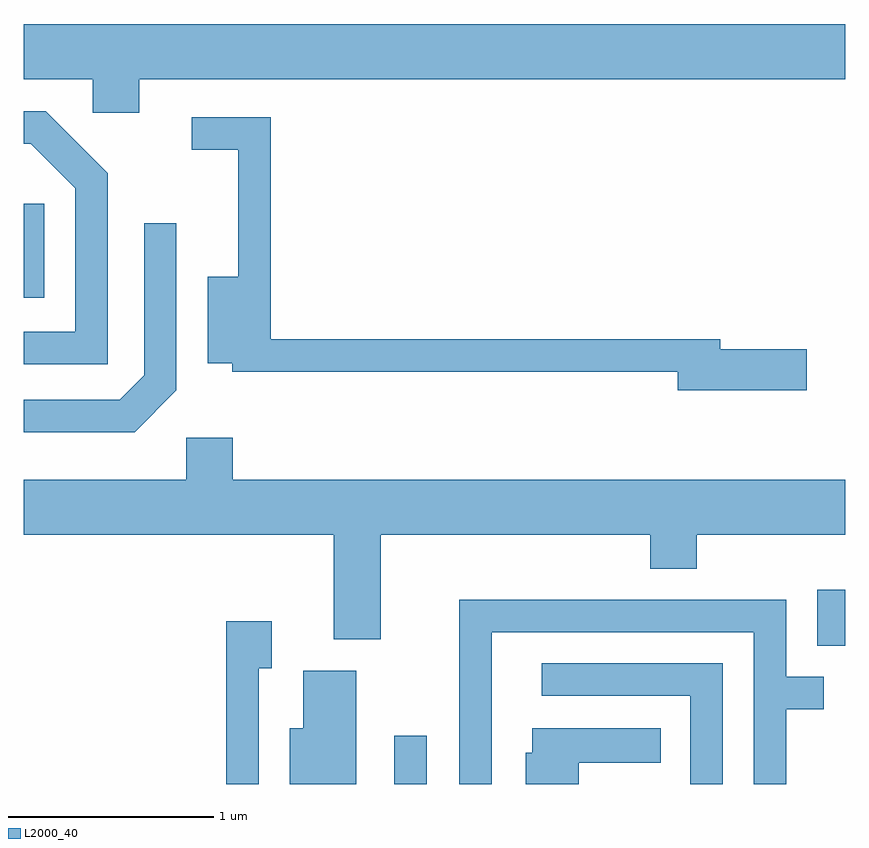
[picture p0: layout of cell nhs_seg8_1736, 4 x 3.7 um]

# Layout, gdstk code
import gdstk
lib = gdstk.Library(unit=1e-6, precision=1e-09)
def R(c, l, rs):  # rectangles x0, y0, x1, y1
    for r in rs: c.add(gdstk.rectangle(r[:2], r[2:], *l))
def P(c, l, *ps):  # polygons
    for p in ps: c.add(gdstk.Polygon(p, *l))
L2000_40 = (2000, 40)

nhs_seg8_1736 = lib.new_cell('nhs_seg8_1736')
R(nhs_seg8_1736, L2000_40, [(239.416,1806.342,239.574,1806.578), (241.476,1807.016,241.611,1807.288), (237.611,1808.711,237.709,1809.169)])
P(nhs_seg8_1736, L2000_40, [(238.174,1809.776),(241.611,1809.776),(241.611,1810.044),(237.611,1810.044),(237.611,1809.776),(237.946,1809.776),(237.946,1809.611),(238.174,1809.611)],
  [(238.019,1809.317),(237.717,1809.619),(237.611,1809.619),(237.611,1809.461),(237.644,1809.461),(237.861,1809.244),(237.861,1808.544),(237.611,1808.544),(237.611,1808.386),(238.019,1808.386)],
  [(241.424,1808.459),(241.004,1808.459),(241.004,1808.509),(238.814,1808.509),(238.814,1809.589),(238.428,1809.589),(238.428,1809.431),(238.656,1809.431),(238.656,1808.814),(238.506,1808.814),(238.506,1808.391),(238.626,1808.391),(238.626,1808.351),(240.796,1808.351),(240.796,1808.261),(241.424,1808.261)],
  [(238.354,1808.259),(238.354,1809.073),(238.196,1809.073),(238.196,1808.332),(238.079,1808.214),(237.611,1808.214),(237.611,1808.056),(238.152,1808.056)],
  [(239.349,1807.556),(240.661,1807.556),(240.661,1807.391),(240.889,1807.391),(240.889,1807.556),(241.611,1807.556),(241.611,1807.824),(238.629,1807.824),(238.629,1808.029),(238.401,1808.029),(238.401,1807.824),(237.611,1807.824),(237.611,1807.556),(239.121,1807.556),(239.121,1807.046),(239.349,1807.046)],
  [(239.889,1807.081),(241.166,1807.081),(241.166,1806.342),(241.324,1806.342),(241.324,1806.706),(241.508,1806.706),(241.508,1806.864),(241.324,1806.864),(241.324,1807.239),(239.731,1807.239),(239.731,1806.342),(239.889,1806.342)],
  [(238.754,1806.906),(238.819,1806.906),(238.819,1807.134),(238.596,1807.134),(238.596,1806.342),(238.754,1806.342)],
  [(241.014,1806.929),(240.133,1806.929),(240.133,1806.771),(240.856,1806.771),(240.856,1806.342),(241.014,1806.342)],
  [(239.229,1806.894),(238.971,1806.894),(238.971,1806.614),(238.906,1806.614),(238.906,1806.342),(239.229,1806.342)],
  [(240.314,1806.446),(240.713,1806.446),(240.713,1806.614),(240.086,1806.614),(240.086,1806.494),(240.056,1806.494),(240.056,1806.342),(240.314,1806.342)])

lib.write_gds('nhs_seg8_1736.gds')
